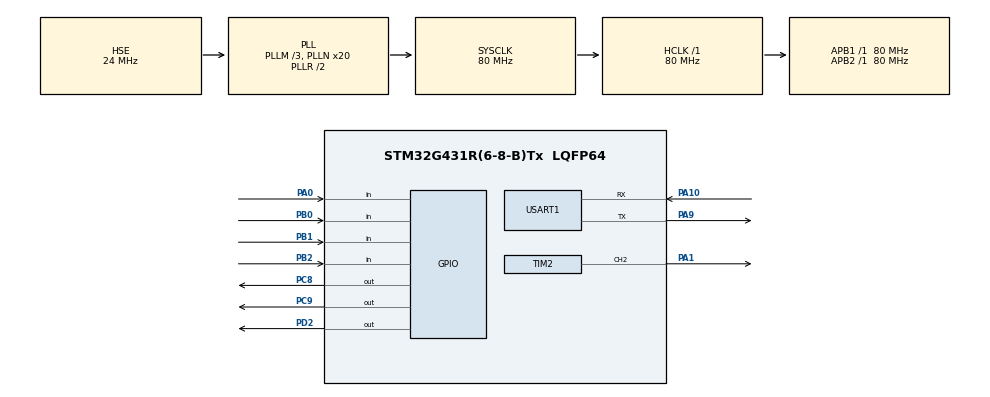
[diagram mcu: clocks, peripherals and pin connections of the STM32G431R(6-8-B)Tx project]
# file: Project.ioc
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Mcu.Family=STM32G4
Mcu.Name=STM32G431R(6-8-B)Tx
Mcu.Package=LQFP64
NVIC.PriorityGroup=NVIC_PRIORITYGROUP_4
NVIC.TIM2_IRQn=true\:0\:0\:false\:false\:true\:true\:true\:true
NVIC.TIM6_DAC_IRQn=true\:0\:0\:false\:false\:true\:true\:true\:true
NVIC.USART1_IRQn=true\:0\:0\:false\:false\:true\:true\:true\:true
PA0.GPIO_PuPd=GPIO_PULLUP
PA0.Signal=GPIO_Input
PA1.Signal=S_TIM2_CH2
PA10.Mode=Asynchronous
PA10.Signal=USART1_RX
PA13.Mode=Serial_Wire
PA13.Signal=SYS_JTMS-SWDIO
PA14.Mode=Serial_Wire
PA14.Signal=SYS_JTCK-SWCLK
PA9.Mode=Asynchronous
PA9.Signal=USART1_TX
PB0.GPIO_Mode=GPIO_MODE_INPUT
PB0.GPIO_PuPd=GPIO_PULLUP
PB0.Signal=GPIO_Input
PB1.GPIO_Mode=GPIO_MODE_INPUT
PB1.GPIO_PuPd=GPIO_PULLUP
PB1.Signal=GPIO_Input
PB2.GPIO_Mode=GPIO_MODE_INPUT
PB2.GPIO_PuPd=GPIO_PULLUP
PB2.Signal=GPIO_Input
PC8.GPIO_ModeDefaultOutputPP=GPIO_MODE_OUTPUT_PP
PC8.GPIO_PuPd=GPIO_NOPULL
PC8.GPIO_Speed=GPIO_SPEED_FREQ_VERY_HIGH
PC8.PinState=GPIO_PIN_RESET
PC8.Signal=GPIO_Output
PC9.GPIO_Speed=GPIO_SPEED_FREQ_VERY_HIGH
PC9.Signal=GPIO_Output
PD2.GPIO_Speed=GPIO_SPEED_FREQ_VERY_HIGH
PD2.Signal=GPIO_Output
PF0-OSC_IN.Mode=HSE-External-Oscillator
PF0-OSC_IN.Signal=RCC_OSC_IN
PF1-OSC_OUT.Mode=HSE-External-Oscillator
PF1-OSC_OUT.Signal=RCC_OSC_OUT
ProjectManager.HeapSize=0x200
ProjectManager.StackSize=0x400
ProjectManager.TargetToolchain=MDK-ARM V5.32
RCC.ADC12Freq_Value=80000000
RCC.AHBFreq_Value=80000000
RCC.APB1Freq_Value=80000000
RCC.APB1TimFreq_Value=80000000
RCC.APB2Freq_Value=80000000
RCC.APB2TimFreq_Value=80000000
RCC.CortexFreq_Value=80000000
RCC.EXTERNAL_CLOCK_VALUE=12288000
RCC.HCLKFreq_Value=80000000
RCC.HSE_VALUE=24000000
RCC.HSI48_VALUE=48000000
RCC.HSI_VALUE=16000000
RCC.LSE_VALUE=32768
RCC.PLLM=RCC_PLLM_DIV3
RCC.PLLN=20
RCC.PLLSourceVirtual=RCC_PLLSOURCE_HSE
RCC.SYSCLKFreq_VALUE=80000000
RCC.SYSCLKSource=RCC_SYSCLKSOURCE_PLLCLK
RCC.USBFreq_Value=80000000
RCC.VCOOutputFreq_Value=160000000
SH.S_TIM2_CH2.0=TIM2_CH2,PWM Generation2 CH2
TIM2.AutoReloadPreload=TIM_AUTORELOAD_PRELOAD_ENABLE
TIM2.Channel-PWM\ Generation2\ CH2=TIM_CHANNEL_2
TIM2.PeriodNoDither=100-1
TIM2.Prescaler=400-1
TIM6.AutoReloadPreload=TIM_AUTORELOAD_PRELOAD_DISABLE
TIM6.PeriodNoDither=10000-1
TIM6.Prescaler=800-1
USART1.VirtualMode-Asynchronous=VM_ASYNC
VP_SYS_VS_DBSignals.Mode=DisableDeadBatterySignals
VP_TIM2_VS_ClockSourceINT.Mode=Internal
VP_TIM6_VS_ClockSourceINT.Mode=Enable_Timer
board=custom

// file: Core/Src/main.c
/* USER CODE BEGIN Header */
/**
  ******************************************************************************
  * @file           : main.c
  * @brief          : Main program body
  ******************************************************************************
  * @attention
  *
  * Copyright (c) 2024 STMicroelectronics.
  * All rights reserved.
  *
  * This software is licensed under terms that can be found in the LICENSE file
  * in the root directory of this software component.
  * If no LICENSE file comes with this software, it is provided AS-IS.
  *
  ******************************************************************************
  */
/* USER CODE END Header */
#include "main.h"
#include "tim.h"
#include "usart.h"
#include "gpio.h"

/* USER CODE BEGIN Includes */
#include "string.h"
#include "lcd.h"
#include "stdio.h"
#include "led.h"
#include "stdbool.h"
#include "delay.h"
#include "AT24C02.h"
/* USER CODE END Includes */

/* USER CODE BEGIN PV */
#define XNumerAddress 0x00
#define YNumerAddress 0x01
#define XPriceAddress 0x02
#define YPriceAddress 0x03
/* USER CODE END PV */

void SystemClock_Config(void);
/* USER CODE BEGIN PFP */
int mode=0;char text[30];
typedef struct SHOPPINGCENTER
{
    int number;
    double price;
    int buy_number;
} members;
members member[2];
int counter = 0;
bool found = false;
/* USER CODE END PFP */

/* USER CODE BEGIN 0 */
void HAL_UART_RxCpltCallback(UART_HandleTypeDef *huart){
    if(huart->Instance==USART1)
        if((USART1_RECEIVE_STATE&0x8000)==0)
            if (USART1_RECEIVE_STATE&0x4000){
                if (USART1_RECEIVE_DATA[0]!=0x0a) USART1_RECEIVE_STATE=0;
                else USART1_RECEIVE_STATE|=0x8000;}
            else{
                if (USART1_RECEIVE_DATA[0]==0x0d) USART1_RECEIVE_STATE|=0x4000;
                else{
                    USART1_RECEIVE_ARRAY[USART1_RECEIVE_STATE&0X3FFF]=USART1_RECEIVE_DATA[0];
                    USART1_RECEIVE_STATE++;
                    if (USART1_RECEIVE_STATE>(USART1_RECEIVE_LENGTH-1)) USART1_RECEIVE_STATE=0;
                }
            }
}
/* USER CODE END 0 */

int main(void)
{

  /* MCU Configuration--------------------------------------------------------*/

  /* Reset of all peripherals, Initializes the Flash interface and the Systick. */
  HAL_Init();

  /* Configure the system clock */
  SystemClock_Config();

  /* USER CODE BEGIN SysInit */
    LCD_Init();LCD_Clear(Black);LCD_SetBackColor(Black);LCD_SetTextColor(White);
    delay_init(80);
  /* USER CODE END SysInit */

  /* Initialize all configured peripherals */
  MX_GPIO_Init();
  MX_TIM2_Init();
  MX_USART1_UART_Init();
  MX_TIM6_Init();
  /* USER CODE BEGIN 2 */
    HAL_TIM_PWM_Start_IT(&htim2,TIM_CHANNEL_2);
    HAL_UART_Receive_IT(&huart1,&USART1_RECEIVE_DATA,USART1_RECEIVE_BUUFER_SIZE);
    HAL_TIM_Base_Start_IT(&htim6);
  /* USER CODE END 2 */

  /* Infinite loop */
  /* USER CODE BEGIN WHILE */
  member[0].number=10;
    member[0].price=1.0;
    member[0].buy_number=0;
    member[1].number=10;
    member[1].price=1.0;
    member[1].buy_number=0;
  led_init();
  AT24C02_Write(XNumerAddress,member[0].number);
    delay_ms(5);
    AT24C02_Write(YNumerAddress,member[1].number);
    delay_ms(5);
    AT24C02_Write(XPriceAddress,member[0].price);
    delay_ms(5);
    AT24C02_Write(YPriceAddress,member[1].price);
    delay_ms(5);

  while(1){
    if (USART1_RECEIVE_STATE & 0x8000){
        if (USART1_RECEIVE_ARRAY[0]=='?') printf("%.1lf %.1lf\r\n",member[0].price,member[1].price);
        USART1_RECEIVE_STATE=0;
      }
    if(HAL_GPIO_ReadPin(GPIOB,GPIO_PIN_0)==0){
        while(HAL_GPIO_ReadPin(GPIOB,GPIO_PIN_0)==0);
        mode++;
        if(mode==3) mode=0;
    }else if(HAL_GPIO_ReadPin(GPIOB,GPIO_PIN_1)==0){
        while(HAL_GPIO_ReadPin(GPIOB,GPIO_PIN_1)==0);
        switch(mode){
        case 0:
            member[0].buy_number++;
            break;
        case 1:
            member[0].price+=0.1;
            AT24C02_Write(XPriceAddress,member[0].price);
            break;
        case 2:
            member[0].number++;
            AT24C02_Write(XNumerAddress,member[0].number);
            break;
        }
    }else if(HAL_GPIO_ReadPin(GPIOB,GPIO_PIN_2)==0){
        while(HAL_GPIO_ReadPin(GPIOB,GPIO_PIN_2)==0);
        switch(mode){
        case 0:
            member[1].buy_number++;
            break;
        case 1:
            member[1].price += 0.1;
            AT24C02_Write(YPriceAddress,member[1].price);
            break;
        case 2:
            member[1].number++;
            AT24C02_Write(YNumerAddress,member[1].number);
            break;
        }
    }else if(HAL_GPIO_ReadPin(GPIOA,GPIO_PIN_0)==0){
        while(HAL_GPIO_ReadPin(GPIOA,GPIO_PIN_0)==0);
        found=true;
        printf("X:%d, Y:%d, Z:%.1lf\r\n",member[0].buy_number,member[1].buy_number,
               member[0].buy_number*member[0].price+member[1].buy_number*member[1].price);
        member[0].number-=member[0].buy_number;
        member[0].buy_number=0;
        member[1].number-=member[1].buy_number;
        member[1].buy_number=0;
        AT24C02_Write(XNumerAddress,member[0].number);
        AT24C02_Write(YNumerAddress,member[1].number);
    }
    /* USER CODE END WHILE */

  }
}

void SystemClock_Config(void)
{
  RCC_OscInitTypeDef RCC_OscInitStruct = {0};
  RCC_ClkInitTypeDef RCC_ClkInitStruct = {0};

  /** Configure the main internal regulator output voltage
  */
  HAL_PWREx_ControlVoltageScaling(PWR_REGULATOR_VOLTAGE_SCALE1);

  /** Initializes the RCC Oscillators according to the specified parameters
  * in the RCC_OscInitTypeDef structure.
  */
  RCC_OscInitStruct.OscillatorType = RCC_OSCILLATORTYPE_HSE;
  RCC_OscInitStruct.HSEState = RCC_HSE_ON;
  RCC_OscInitStruct.PLL.PLLState = RCC_PLL_ON;
  RCC_OscInitStruct.PLL.PLLSource = RCC_PLLSOURCE_HSE;
  RCC_OscInitStruct.PLL.PLLM = RCC_PLLM_DIV3;
  RCC_OscInitStruct.PLL.PLLN = 20;
  RCC_OscInitStruct.PLL.PLLP = RCC_PLLP_DIV2;
  RCC_OscInitStruct.PLL.PLLQ = RCC_PLLQ_DIV2;
  RCC_OscInitStruct.PLL.PLLR = RCC_PLLR_DIV2;
  if (HAL_RCC_OscConfig(&RCC_OscInitStruct) != HAL_OK)
  {
    Error_Handler();
  }

  /** Initializes the CPU, AHB and APB buses clocks
  */
  RCC_ClkInitStruct.ClockType = RCC_CLOCKTYPE_HCLK|RCC_CLOCKTYPE_SYSCLK
                              |RCC_CLOCKTYPE_PCLK1|RCC_CLOCKTYPE_PCLK2;
  RCC_ClkInitStruct.SYSCLKSource = RCC_SYSCLKSOURCE_PLLCLK;
  RCC_ClkInitStruct.AHBCLKDivider = RCC_SYSCLK_DIV1;
  RCC_ClkInitStruct.APB1CLKDivider = RCC_HCLK_DIV1;
  RCC_ClkInitStruct.APB2CLKDivider = RCC_HCLK_DIV1;

  if (HAL_RCC_ClockConfig(&RCC_ClkInitStruct, FLASH_LATENCY_2) != HAL_OK)
  {
    Error_Handler();
  }
}

/* USER CODE BEGIN 4 */
void HAL_TIM_PeriodElapsedCallback(TIM_HandleTypeDef *htim){
    if(htim->Instance==TIM6){
        if (mode==0){
            LCD_DisplayStringLine(Line2, (u8 *)"         SHOP   ");
            sprintf(text, "      X:%d   ", member[0].buy_number);
            LCD_DisplayStringLine(Line4, (u8 *)text);
            sprintf(text, "      Y:%d   ", member[1].buy_number);
            LCD_DisplayStringLine(Line5, (u8 *)text);
        }else if(mode==1){
            LCD_DisplayStringLine(Line2, (u8 *)"         PRICE  ");
            sprintf(text, "      X:%.1lf    ", member[0].price);
            LCD_DisplayStringLine(Line4, (u8 *)text);
            sprintf(text, "      Y:%.1lf    ", member[1].price);
            LCD_DisplayStringLine(Line5, (u8 *)text);
        }else{
            LCD_DisplayStringLine(Line2, (u8 *)"          REG   ");
            sprintf(text, "      X:%d   ", member[0].number);
            LCD_DisplayStringLine(Line4, (u8 *)text);
            sprintf(text, "      Y:%d   ", member[1].number);
            LCD_DisplayStringLine(Line5, (u8 *)text);
        }

        if(member[0].number==0&&member[1].number==0) led_Toggle(2);

        if(found==true){
            __HAL_TIM_SET_COMPARE(&htim2, TIM_CHANNEL_2, 30);
            counter++;
            led_ON(1);
            if (counter==50){
                found=false;
                led_OFF(1);
            }
        }
        else __HAL_TIM_SET_COMPARE(&htim2, TIM_CHANNEL_2, 5);
        HAL_TIM_Base_Start_IT(&htim6);
    }
}
/* USER CODE END 4 */

void Error_Handler(void)
{
  __disable_irq();
  while (1)
  {
  }
}
